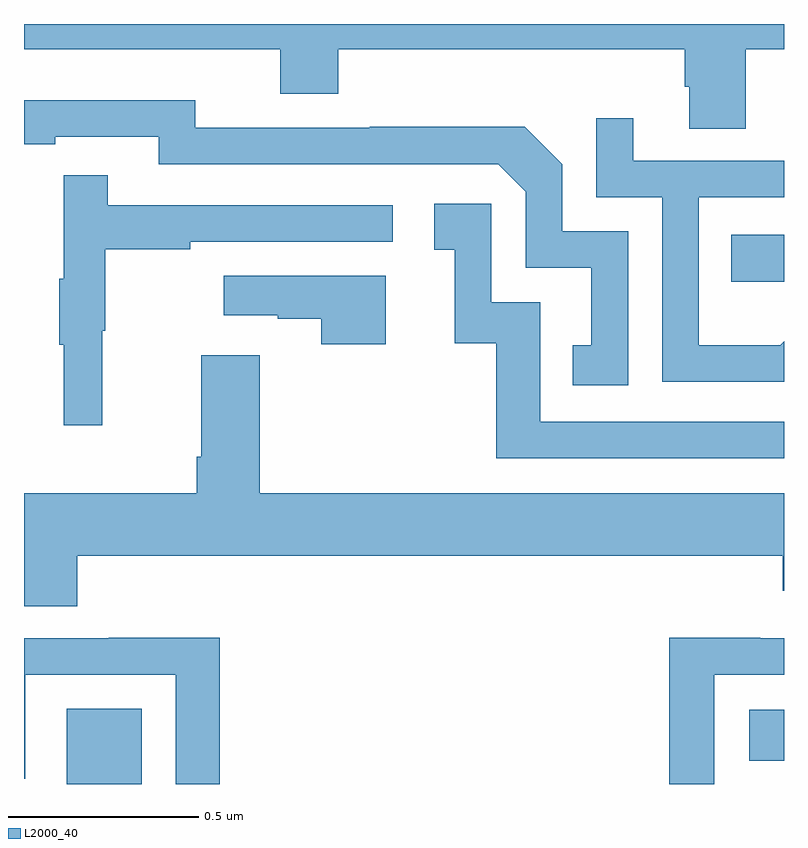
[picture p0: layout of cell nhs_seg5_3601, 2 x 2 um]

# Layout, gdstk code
import gdstk
lib = gdstk.Library(unit=1e-6, precision=1e-09)
def R(c, l, rs):  # rectangles x0, y0, x1, y1
    for r in rs: c.add(gdstk.rectangle(r[:2], r[2:], *l))
def P(c, l, *ps):  # polygons
    for p in ps: c.add(gdstk.Polygon(p, *l))
L2000_40 = (2000, 40)

nhs_seg5_3601 = lib.new_cell('nhs_seg5_3601')
R(nhs_seg5_3601, L2000_40, [(159.113,882.799,159.31,882.997), (160.908,882.86,161,882.994), (160.861,884.121,161,884.244)])
P(nhs_seg5_3601, L2000_40, [(159,884.732),(159.674,884.732),(159.674,884.615),(159.827,884.615),(159.827,884.732),(160.739,884.732),(160.739,884.634),(160.751,884.634),(160.751,884.524),(160.899,884.524),(160.899,884.732),(161,884.732),(161,884.799),(159,884.799)],
  [(160.59,884.253),(160.416,884.253),(160.416,884.43),(160.318,884.528),(159.91,884.528),(159.91,884.526),(159.45,884.526),(159.45,884.599),(159.082,884.599),(159.082,884.598),(159,884.598),(159,884.482),(159.082,884.482),(159.082,884.502),(159.354,884.502),(159.354,884.43),(160.248,884.43),(160.32,884.358),(160.32,884.157),(160.493,884.157),(160.493,883.953),(160.444,883.953),(160.444,883.848),(160.59,883.848)],
  [(161,883.964),(160.99,883.954),(160.776,883.954),(160.776,884.343),(161,884.343),(161,884.439),(160.603,884.439),(160.603,884.551),(160.506,884.551),(160.506,884.343),(160.68,884.343),(160.68,883.857),(161,883.857)],
  [(159.206,883.992),(159.214,883.992),(159.214,884.206),(159.437,884.206),(159.437,884.226),(159.97,884.226),(159.97,884.322),(159.221,884.322),(159.221,884.401),(159.104,884.401),(159.104,884.129),(159.093,884.129),(159.093,883.955),(159.104,883.955),(159.104,883.743),(159.206,883.743)],
  [(161,883.752),(160.359,883.752),(160.359,884.067),(160.23,884.067),(160.23,884.326),(160.08,884.326),(160.08,884.205),(160.133,884.205),(160.133,883.959),(160.243,883.959),(160.243,883.656),(161,883.656)],
  [(159.952,884.137),(159.525,884.137),(159.525,884.033),(159.668,884.033),(159.668,884.023),(159.782,884.023),(159.782,883.956),(159.952,883.956)],
  [(159.14,883.4),(160.997,883.4),(160.997,883.307),(161,883.307),(161,883.564),(159.62,883.564),(159.62,883.927),(159.467,883.927),(159.467,883.66),(159.455,883.66),(159.455,883.564),(159,883.564),(159,883.267),(159.14,883.267)],
  [(160.816,883.086),(161,883.086),(161,883.182),(160.938,883.182),(160.938,883.184),(160.698,883.184),(160.698,882.799),(160.816,882.799)],
  [(159.515,883.184),(159.223,883.184),(159.223,883.182),(159,883.182),(159,882.813),(159.003,882.813),(159.003,883.086),(159.399,883.086),(159.399,882.799),(159.515,882.799)])

lib.write_gds('nhs_seg5_3601.gds')
